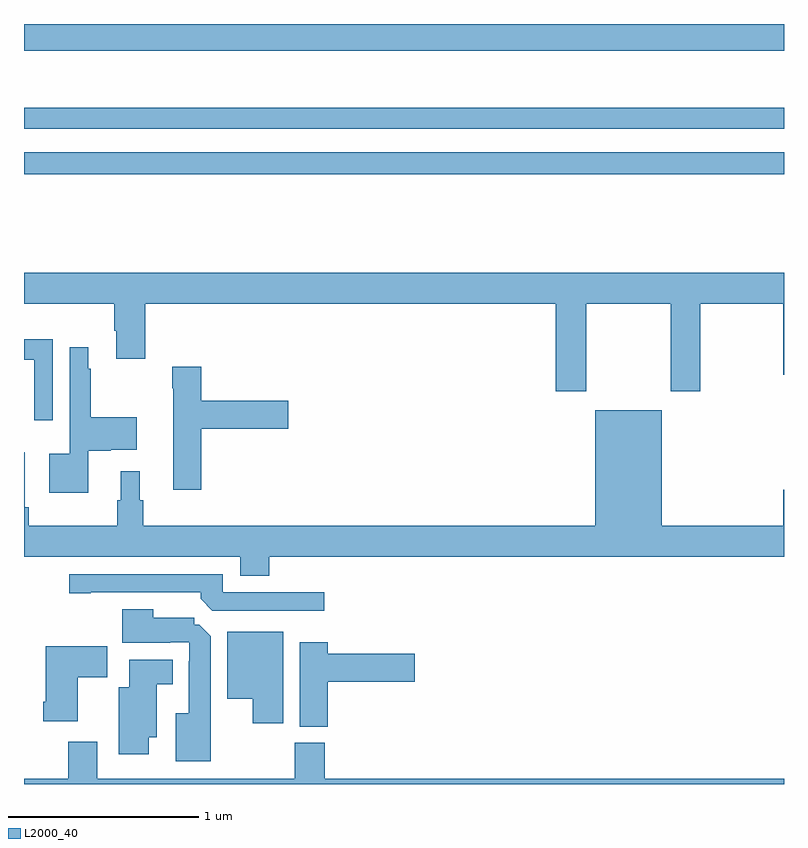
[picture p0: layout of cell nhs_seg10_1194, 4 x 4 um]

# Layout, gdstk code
import gdstk
lib = gdstk.Library(unit=1e-6, precision=1e-09)
def R(c, l, rs):  # rectangles x0, y0, x1, y1
    for r in rs: c.add(gdstk.rectangle(r[:2], r[2:], *l))
def P(c, l, *ps):  # polygons
    for p in ps: c.add(gdstk.Polygon(p, *l))
L2000_40 = (2000, 40)

nhs_seg10_1194 = lib.new_cell('nhs_seg10_1194')
R(nhs_seg10_1194, L2000_40, [(173,1255.708,177,1255.824), (173,1255.95,177,1256.059), (173,1256.36,177,1256.5)])
P(nhs_seg10_1194, L2000_40, [(175.959,1255.028),(176.404,1255.028),(176.404,1254.567),(176.559,1254.567),(176.559,1255.028),(176.996,1255.028),(176.996,1254.654),(177,1254.654),(177,1255.192),(173,1255.192),(173,1255.028),(173.474,1255.028),(173.474,1254.886),(173.486,1254.886),(173.486,1254.738),(173.639,1254.738),(173.639,1255.028),(175.799,1255.028),(175.799,1254.567),(175.959,1254.567)],
  [(173.151,1254.84),(173,1254.84),(173,1254.732),(173.054,1254.732),(173.054,1254.414),(173.151,1254.414)],
  [(173.338,1254.253),(173.457,1254.253),(173.457,1254.26),(173.593,1254.26),(173.593,1254.431),(173.35,1254.431),(173.35,1254.686),(173.338,1254.686),(173.338,1254.799),(173.241,1254.799),(173.241,1254.238),(173.132,1254.238),(173.132,1254.032),(173.338,1254.032)],
  [(173.933,1254.371),(174.391,1254.371),(174.391,1254.518),(173.933,1254.518),(173.933,1254.697),(173.779,1254.697),(173.779,1254.584),(173.786,1254.584),(173.786,1254.048),(173.933,1254.048)],
  [(174.29,1253.696),(177,1253.696),(177,1254.049),(176.996,1254.049),(176.996,1253.86),(176.356,1253.86),(176.356,1254.466),(176.006,1254.466),(176.006,1253.86),(173.627,1253.86),(173.627,1253.994),(173.608,1253.994),(173.608,1254.145),(173.51,1254.145),(173.51,1253.994),(173.491,1253.994),(173.491,1253.86),(173.024,1253.86),(173.024,1253.956),(173.004,1253.956),(173.004,1254.247),(173,1254.247),(173,1253.696),(174.137,1253.696),(174.137,1253.597),(174.29,1253.597)],
  [(174.58,1253.508),(174.045,1253.508),(174.045,1253.604),(173.238,1253.604),(173.238,1253.503),(173.35,1253.503),(173.35,1253.508),(173.93,1253.508),(173.93,1253.474),(173.991,1253.412),(174.58,1253.412)],
  [(173.983,1253.277),(173.923,1253.337),(173.895,1253.337),(173.895,1253.374),(173.68,1253.374),(173.68,1253.419),(173.516,1253.419),(173.516,1253.243),(173.771,1253.243),(173.771,1253.247),(173.871,1253.247),(173.871,1253.147),(173.867,1253.147),(173.867,1252.873),(173.798,1252.873),(173.798,1252.619),(173.983,1252.619)],
  [(174.364,1253.302),(174.071,1253.302),(174.071,1252.949),(174.203,1252.949),(174.203,1252.821),(174.364,1252.821)],
  [(174.599,1253.039),(175.057,1253.039),(175.057,1253.186),(174.599,1253.186),(174.599,1253.245),(174.452,1253.245),(174.452,1252.801),(174.599,1252.801)],
  [(173.284,1253.062),(173.437,1253.062),(173.437,1253.224),(173.114,1253.224),(173.114,1252.933),(173.102,1252.933),(173.102,1252.829),(173.284,1252.829)],
  [(173.656,1252.745),(173.698,1252.745),(173.698,1253.024),(173.782,1253.024),(173.782,1253.155),(173.555,1253.155),(173.555,1253.008),(173.498,1253.008),(173.498,1252.656),(173.656,1252.656)],
  [(177,1252.528),(174.584,1252.528),(174.584,1252.716),(174.424,1252.716),(174.424,1252.528),(173.386,1252.528),(173.386,1252.723),(173.234,1252.723),(173.234,1252.528),(173,1252.528),(173,1252.5),(177,1252.5)])

lib.write_gds('nhs_seg10_1194.gds')
